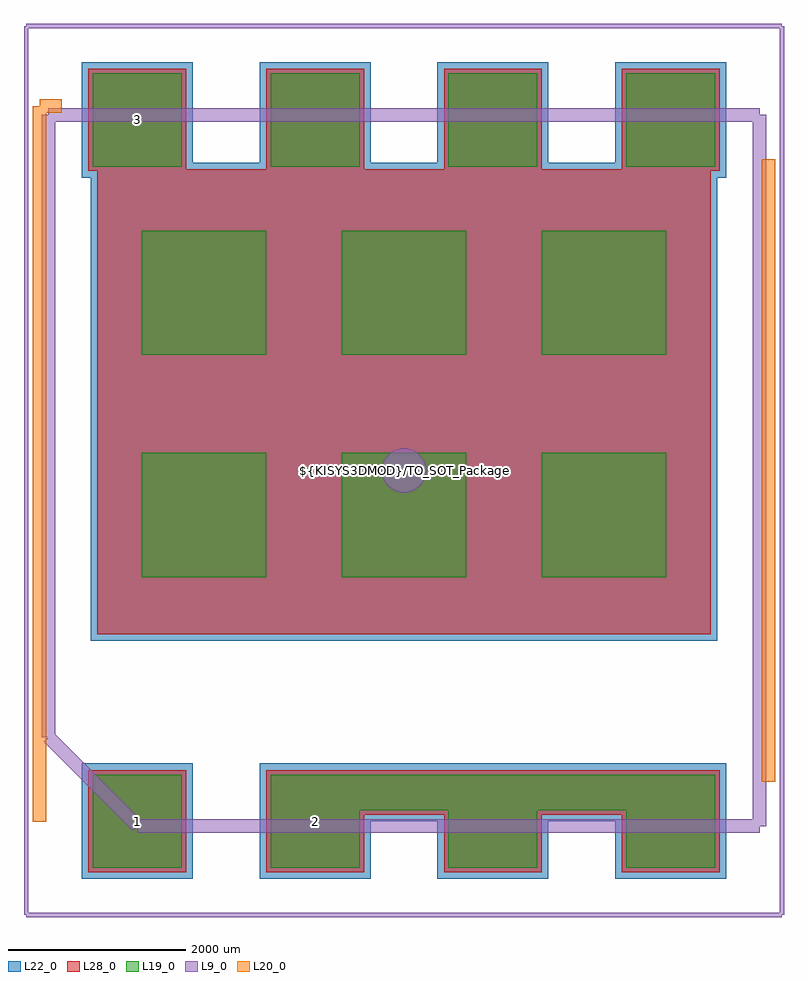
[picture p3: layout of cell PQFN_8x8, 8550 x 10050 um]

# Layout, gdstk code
import gdstk
lib = gdstk.Library(unit=1e-6, precision=1e-09)
def R(c, l, rs):  # rectangles x0, y0, x1, y1
    for r in rs: c.add(gdstk.rectangle(r[:2], r[2:], *l))
def A(c, l, x, y, w, h, nx, ny, dx, dy):  # array of equal rectangles
    R(c, l, [(x+i*dx, y+j*dy, x+i*dx+w, y+j*dy+h) for i in range(nx) for j in range(ny)])
def P(c, l, *ps):  # polygons
    for p in ps: c.add(gdstk.Polygon(p, *l))
L9_0 = (9, 0)
L19_0 = (19, 0)
L20_0 = (20, 0)
L22_0 = (22, 0)
L28_0 = (28, 0)

pqfn_8x8 = lib.new_cell('PQFN_8x8')
P(pqfn_8x8, L9_0, [(250,0),(245.196,48.773),(230.97,95.671),(207.867,138.893),(176.777,176.777),(138.893,207.867),(95.671,230.97),(48.773,245.196),(0,250),(-48.773,245.196),(-95.671,230.97),(-138.893,207.867),(-176.777,176.777),(-207.867,138.893),(-230.97,95.671),(-245.196,48.773),(-250,0),(-245.196,-48.773),(-230.97,-95.671),(-207.867,-138.893),(-176.777,-176.777),(-138.893,-207.867),(-95.671,-230.97),(-48.773,-245.196),(0,-250),(48.773,-245.196),(95.671,-230.97),(138.893,-207.867),(176.777,-176.777),(207.867,-138.893),(230.97,-95.671),(245.196,-48.773)])
A(pqfn_8x8, L19_0, -3500, -4470, 1000, 1050, 4, 2, 2000, 7890)
A(pqfn_8x8, L19_0, -2950, -1200, 1400, 1400, 3, 2, 2250, 2500)
R(pqfn_8x8, L19_0, [(-1500,-3820,3500,-3420)])
A(pqfn_8x8, L22_0, -3625, -4595, 1250, 1300, 4, 2, 2000, 7890)
A(pqfn_8x8, L22_0, -3075, -1325, 1650, 1650, 3, 2, 2250, 2500)
R(pqfn_8x8, L22_0, [(-1625,-3945,3625,-3295), (-3525,-1915,3525,3465)])
A(pqfn_8x8, L28_0, -3550, -4520, 1100, 1150, 4, 2, 2000, 7890)
A(pqfn_8x8, L28_0, -3000, -1250, 1500, 1500, 3, 2, 2250, 2500)
R(pqfn_8x8, L28_0, [(-1550,-3870,3550,-3370), (-3450,-1840,3450,3390)])
pqfn_8x8.add(gdstk.FlexPath([(0,250),(0,-250)], 100, ends="flush", simple_path=True, layer=9, datatype=0))  # L9_0
pqfn_8x8.add(gdstk.FlexPath([(250,0),(-250,0)], 100, ends="flush", simple_path=True, layer=9, datatype=0))  # L9_0
pqfn_8x8.add(gdstk.FlexPath([(-4250,5000),(4250,5000)], 50, ends="flush", simple_path=True, layer=9, datatype=0))  # L9_0
pqfn_8x8.add(gdstk.FlexPath([(-4250,-5000),(-4250,5000)], 50, ends="flush", simple_path=True, layer=9, datatype=0))  # L9_0
pqfn_8x8.add(gdstk.FlexPath([(4250,-5000),(-4250,-5000)], 50, ends="flush", simple_path=True, layer=9, datatype=0))  # L9_0
pqfn_8x8.add(gdstk.FlexPath([(4250,5000),(4250,-5000)], 50, ends="flush", simple_path=True, layer=9, datatype=0))  # L9_0
pqfn_8x8.add(gdstk.FlexPath([(4100,3500),(4100,-3500)], 149.998, ends="flush", simple_path=True, layer=20, datatype=0))  # L20_0
pqfn_8x8.add(gdstk.FlexPath([(-4100,4100),(-4100,-3950)], 149.998, ends="flush", simple_path=True, layer=20, datatype=0))  # L20_0
pqfn_8x8.add(gdstk.FlexPath([(-3850,4100),(-4100,4100)], 149.998, ends="flush", simple_path=True, layer=20, datatype=0))  # L20_0
pqfn_8x8.add(gdstk.FlexPath([(-4000,-3000),(-3000,-4000)], 149.998, ends="flush", simple_path=True, layer=9, datatype=0))  # L9_0
pqfn_8x8.add(gdstk.FlexPath([(-4000,-3000),(-4000,4000)], 149.998, ends="flush", simple_path=True, layer=9, datatype=0))  # L9_0
pqfn_8x8.add(gdstk.FlexPath([(4000,-4000),(-3000,-4000)], 149.998, ends="flush", simple_path=True, layer=9, datatype=0))  # L9_0
pqfn_8x8.add(gdstk.FlexPath([(4000,4000),(4000,-4000)], 149.998, ends="flush", simple_path=True, layer=9, datatype=0))  # L9_0
pqfn_8x8.add(gdstk.FlexPath([(-4000,4000),(4000,4000)], 149.998, ends="flush", simple_path=True, layer=9, datatype=0))  # L9_0
pqfn_8x8.add(gdstk.Label('${KISYS3DMOD}/TO_SOT_Packages_SMD.3dshapes/PQFN_8x8.wrl', (0,0), layer=12, texttype=0))
pqfn_8x8.add(gdstk.Label('3', (-3000,3945), layer=28, texttype=0))
pqfn_8x8.add(gdstk.Label('2', (-1000,-3945), layer=28, texttype=0))
pqfn_8x8.add(gdstk.Label('1', (-3000,-3945), layer=28, texttype=0))
pqfn_8x8.add(gdstk.Label('type', (0,5750), layer=9, texttype=0))
pqfn_8x8.add(gdstk.Label('devicename', (0,-5750), layer=9, texttype=0))

lib.write_gds('PQFN_8x8.gds')
